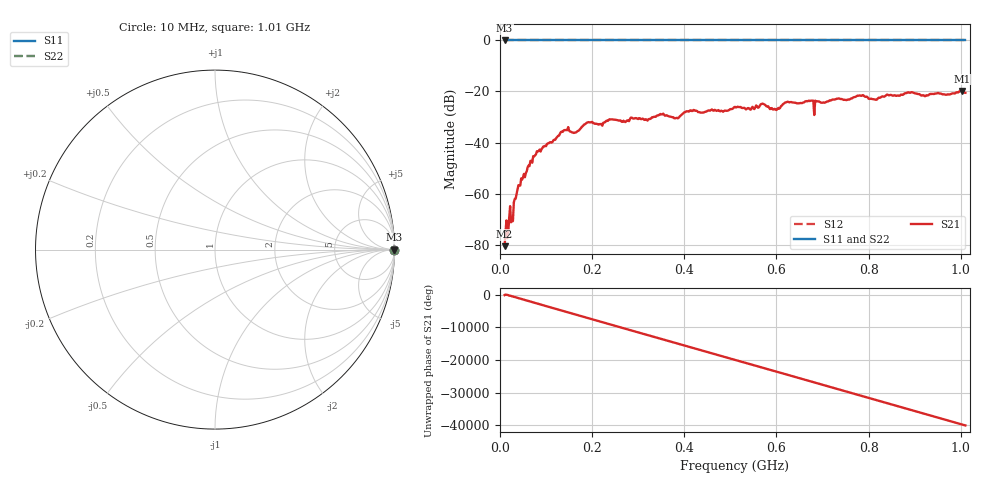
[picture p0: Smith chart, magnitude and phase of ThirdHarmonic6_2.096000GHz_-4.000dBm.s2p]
! 8/17/2025 1:04:44 AM
! C:\ANRITSUVNA\TEMP\TEMP.S2P
! CHANNEL.1
! TR.MEASUREMENT
! RAW.DATA
! RF.CORRECTION.OFF
! AVERAGING.OFF
! IF.BANDWIDTH: 5KHZ
! SWEEPTYPE:  FREQ.SWEEP(Linear)
! Reference Plane Port Info
! PORT:  PORT1  PORT2
! DISTANCE:  0  m  0  m
! TIME:  0  s  0  s
! PHASE.OFFSET:  0  deg.  0  deg.
! LOSS:  0  dB  0  dB
! REF.LOSS:  0  dB  0  dB
! REF.FREQ:  0  Hz  0  Hz
! Power Info
! POWER:  -20  dBm  -20  dBm
! EFF.POWER:  -20  dBm  -20  dBm
! SOURCE.ATTEN:  0  dB  0  dB
! TEST.ATTEN:  0  dB  0  dB
# GHZ S RI R 50.0
! FREQ.GHZ  S11RE  S11IM  S21RE  S21IM  S12RE  S12IM  S22RE  S22IM
!; PortSelection: Port_12
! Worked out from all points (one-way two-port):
!   501 points, 10 MHz to 1.01 GHz, reference 50 ohm
!   highest |S21| = -19.84 dB at 1.002 GHz (marker M1); lowest = -80.6 dB at 10 MHz (marker M2)
!   lowest |S11| = 0.0 dB at 10 MHz (marker M3)
!   |S11| at or under -10 dB: nowhere
!   |S22| runs from 0.0 to 0.0 dB; largest |S21 - S12| = 1.1
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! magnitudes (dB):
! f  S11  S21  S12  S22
! 10 MHz  0.0  -80.6  0.0  0.0
! 18 MHz  0.0  -74.9  0.0  0.0
! 28 MHz  0.0  -70.8  0.0  0.0
! 34 MHz  0.0  -62.0  0.0  0.0
! 42 MHz  0.0  -56.7  0.0  0.0
! 76 MHz  0.0  -45.0  0.0  0.0
! 136 MHz  0.0  -35.8  0.0  0.0
! 162 MHz  0.0  -36.1  0.0  0.0
! 178 MHz  0.0  -33.8  0.0  0.0
! 192 MHz  0.0  -32.0  0.0  0.0
! 318 MHz  0.0  -31.0  0.0  0.0
! 344 MHz  0.0  -29.3  0.0  0.0
! 382 MHz  0.0  -30.4  0.0  0.0
! 410 MHz  0.0  -27.9  0.0  0.0
! 510 MHz  0.0  -26.0  0.0  0.0
! 570 MHz  0.0  -24.7  0.0  0.0
! 596 MHz  0.0  -26.8  0.0  0.0
! 622 MHz  0.0  -24.2  0.0  0.0
! 678 MHz  0.0  -23.6  0.0  0.0
! 844 MHz  0.0  -21.5  0.0  0.0
! 1.002 GHz  0.0  -19.8  0.0  0.0
! 1.01 GHz  0.0  -20.5  0.0  0.0
